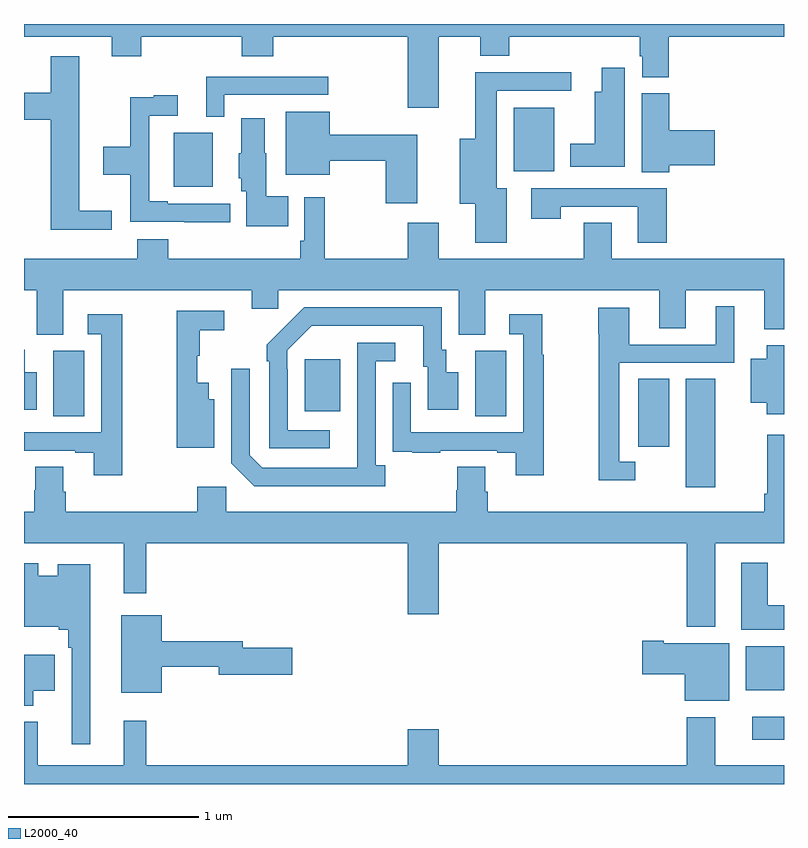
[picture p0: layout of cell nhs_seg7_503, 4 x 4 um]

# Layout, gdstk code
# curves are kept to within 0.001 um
import gdstk
lib = gdstk.Library(unit=1e-6, precision=1e-09)
def R(c, l, rs):  # rectangles x0, y0, x1, y1
    for r in rs: c.add(gdstk.rectangle(r[:2], r[2:], *l))
def P(c, l, *ps):  # polygons
    for p in ps: c.add(gdstk.Polygon(p, *l))
L2000_40 = (2000, 40)

nhs_seg7_503 = lib.new_cell('nhs_seg7_503')
R(nhs_seg7_503, L2000_40, [(154.833,1014.233,155,1014.355), (154.799,1014.494,155,1014.724), (154.484,1015.563,154.639,1016.132), (154.232,1015.776,154.396,1016.132), (151.154,1015.936,151.318,1016.28), (153.374,1015.936,153.538,1016.28), (152.477,1015.961,152.665,1016.236), (151.787,1017.143,151.993,1017.427), (153.578,1017.224,153.79,1017.559)])
P(nhs_seg7_503, L2000_40, [(153.184,1017.932),(153.401,1017.932),(153.401,1017.833),(153.554,1017.833),(153.554,1017.932),(154.241,1017.932),(154.241,1017.831),(154.253,1017.831),(154.253,1017.721),(154.394,1017.721),(154.394,1017.932),(155,1017.932),(155,1018),(151,1018),(151,1017.932),(151.463,1017.932),(151.463,1017.83),(151.616,1017.83),(151.616,1017.932),(152.147,1017.932),(152.147,1017.83),(152.312,1017.83),(152.312,1017.932),(153.02,1017.932),(153.02,1017.558),(153.184,1017.558)],
  [(151.462,1017.017),(151.291,1017.017),(151.291,1017.829),(151.142,1017.829),(151.142,1017.639),(151,1017.639),(151,1017.497),(151.142,1017.497),(151.142,1016.918),(151.462,1016.918)],
  [(154.162,1017.769),(154.04,1017.769),(154.04,1017.643),(154.004,1017.643),(154.004,1017.37),(153.875,1017.37),(153.875,1017.248),(154.162,1017.248)],
  [(153.541,1017.136),(153.487,1017.136),(153.487,1017.648),(153.88,1017.648),(153.88,1017.746),(153.374,1017.746),(153.374,1017.397),(153.293,1017.397),(153.293,1017.053),(153.374,1017.053),(153.374,1016.85),(153.541,1016.85)],
  [(152.055,1017.627),(152.602,1017.627),(152.602,1017.723),(151.958,1017.723),(151.958,1017.512),(152.055,1017.512)],
  [(154.397,1017.257),(154.636,1017.257),(154.636,1017.44),(154.397,1017.44),(154.397,1017.636),(154.25,1017.636),(154.25,1017.22),(154.397,1017.22)],
  [(152.086,1017.054),(151.756,1017.054),(151.756,1017.067),(151.659,1017.067),(151.659,1017.516),(151.81,1017.516),(151.81,1017.625),(151.682,1017.625),(151.682,1017.614),(151.558,1017.614),(151.558,1017.354),(151.416,1017.354),(151.416,1017.206),(151.558,1017.206),(151.558,1016.958),(151.843,1016.958),(151.843,1016.957),(152.086,1016.957)],
  [(153.07,1017.416),(152.608,1017.416),(152.608,1017.538),(152.378,1017.538),(152.378,1017.206),(152.608,1017.206),(152.608,1017.28),(152.905,1017.28),(152.905,1017.057),(153.07,1017.057)],
  [(152.39,1017.094),(152.275,1017.094),(152.275,1017.321),(152.266,1017.321),(152.266,1017.505),(152.144,1017.505),(152.144,1017.321),(152.129,1017.321),(152.129,1017.189),(152.144,1017.189),(152.144,1017.12),(152.171,1017.12),(152.171,1016.936),(152.39,1016.936)],
  [(154.382,1017.135),(153.669,1017.135),(153.669,1016.976),(153.825,1016.976),(153.825,1017.039),(154.229,1017.039),(154.229,1016.85),(154.382,1016.85)],
  [(151.207,1016.6),(152.198,1016.6),(152.198,1016.502),(152.337,1016.502),(152.337,1016.6),(153.287,1016.6),(153.287,1016.365),(153.427,1016.365),(153.427,1016.6),(154.343,1016.6),(154.343,1016.398),(154.483,1016.398),(154.483,1016.6),(154.895,1016.6),(154.895,1016.394),(155,1016.394),(155,1016.764),(154.093,1016.764),(154.093,1016.954),(153.946,1016.954),(153.946,1016.764),(153.184,1016.764),(153.184,1016.953),(153.02,1016.953),(153.02,1016.764),(152.584,1016.764),(152.584,1017.088),(152.475,1017.088),(152.475,1016.86),(152.455,1016.86),(152.455,1016.764),(151.76,1016.764),(151.76,1016.866),(151.595,1016.866),(151.595,1016.764),(151,1016.764),(151,1016.6),(151.067,1016.6),(151.067,1016.365),(151.207,1016.365)],
  [(154.216,1015.695),(154.134,1015.695),(154.134,1016.217),(154.738,1016.217),(154.738,1016.515),(154.64,1016.515),(154.64,1016.313),(154.186,1016.313),(154.186,1016.506),(154.022,1016.506),(154.022,1016.37),(154.026,1016.37),(154.026,1015.598),(154.216,1015.598)],
  [(152.608,1015.863),(152.388,1015.863),(152.388,1016.183),(152.385,1016.183),(152.385,1016.283),(152.514,1016.412),(153.101,1016.412),(153.101,1016.196),(153.125,1016.196),(153.125,1015.971),(153.286,1015.971),(153.286,1016.167),(153.223,1016.167),(153.223,1016.286),(153.198,1016.286),(153.198,1016.508),(152.474,1016.508),(152.277,1016.313),(152.277,1016.225),(152.292,1016.225),(152.292,1015.767),(152.608,1015.767)],
  [(152.002,1016.026),(151.972,1016.026),(151.972,1016.113),(151.913,1016.113),(151.913,1016.253),(151.924,1016.253),(151.924,1016.389),(152.053,1016.389),(152.053,1016.49),(151.803,1016.49),(151.803,1015.769),(152.002,1015.769)],
  [(151.516,1016.473),(151.335,1016.473),(151.335,1016.367),(151.407,1016.367),(151.407,1015.851),(151,1015.851),(151,1015.755),(151.271,1015.755),(151.271,1015.743),(151.367,1015.743),(151.367,1015.626),(151.516,1015.626)],
  [(153.736,1016.26),(153.728,1016.26),(153.728,1016.473),(153.555,1016.473),(153.555,1016.367),(153.627,1016.367),(153.627,1015.851),(153.036,1015.851),(153.036,1016.113),(152.94,1016.113),(152.94,1015.858),(152.941,1015.858),(152.941,1015.749),(153.043,1015.749),(153.043,1015.743),(153.191,1015.743),(153.191,1015.755),(153.491,1015.755),(153.491,1015.743),(153.587,1015.743),(153.587,1015.626),(153.736,1015.626)],
  [(152.902,1015.678),(152.85,1015.678),(152.85,1016.226),(152.953,1016.226),(152.953,1016.322),(152.754,1016.322),(152.753,1015.665),(152.253,1015.665),(152.187,1015.731),(152.187,1016.185),(152.091,1016.185),(152.091,1015.689),(152.212,1015.568),(152.902,1015.568)],
  [(155,1016.308),(154.91,1016.308),(154.91,1016.239),(154.826,1016.239),(154.826,1016.006),(154.91,1016.006),(154.91,1015.947),(155,1015.947)],
  [(151.066,1016.167),(151.003,1016.167),(151.003,1016.286),(151,1016.286),(151,1015.971),(151.066,1015.971)],
  [(154.639,1015.268),(155,1015.268),(155,1015.837),(154.912,1015.837),(154.912,1015.528),(154.897,1015.528),(154.897,1015.432),(153.44,1015.432),(153.44,1015.538),(153.427,1015.538),(153.427,1015.67),(153.28,1015.67),(153.28,1015.545),(153.275,1015.545),(153.275,1015.432),(152.064,1015.432),(152.064,1015.564),(151.913,1015.564),(151.913,1015.432),(151.22,1015.432),(151.22,1015.538),(151.207,1015.538),(151.207,1015.67),(151.06,1015.67),(151.06,1015.545),(151.055,1015.545),(151.055,1015.432),(151,1015.432),(151,1015.268),(151.526,1015.268),(151.526,1015.005),(151.643,1015.005),(151.643,1015.268),(153.02,1015.268),(153.02,1014.894),(153.184,1014.894),(153.184,1015.268),(154.487,1015.268),(154.487,1014.827),(154.639,1014.827)],
  [(155,1014.94),(154.915,1014.94),(154.915,1015.165),(154.775,1015.165),(154.775,1014.812),(155,1014.812)],
  [(151.348,1015.156),(151.178,1015.156),(151.178,1015.096),(151.074,1015.096),(151.074,1015.162),(151,1015.162),(151,1014.827),(151.182,1014.827),(151.182,1014.812),(151.233,1014.812),(151.233,1014.716),(151.251,1014.716),(151.251,1014.21),(151.348,1014.21)],
  [(151.726,1014.616),(152.024,1014.616),(152.024,1014.574),(152.413,1014.574),(152.413,1014.716),(152.152,1014.716),(152.152,1014.752),(151.726,1014.752),(151.726,1014.889),(151.511,1014.889),(151.511,1014.479),(151.726,1014.479)],
  [(154.711,1014.742),(154.366,1014.742),(154.366,1014.755),(154.254,1014.755),(154.254,1014.577),(154.478,1014.577),(154.478,1014.437),(154.711,1014.437)],
  [(151.048,1014.491),(151.162,1014.491),(151.162,1014.679),(151,1014.679),(151,1014.413),(151.048,1014.413)],
  [(155,1014.1),(154.639,1014.1),(154.639,1014.352),(154.487,1014.352),(154.487,1014.1),(153.184,1014.1),(153.184,1014.289),(153.02,1014.289),(153.02,1014.1),(151.643,1014.1),(151.643,1014.334),(151.526,1014.334),(151.526,1014.1),(151.073,1014.1),(151.073,1014.328),(151,1014.328),(151,1014),(155,1014)])

lib.write_gds('nhs_seg7_503.gds')
